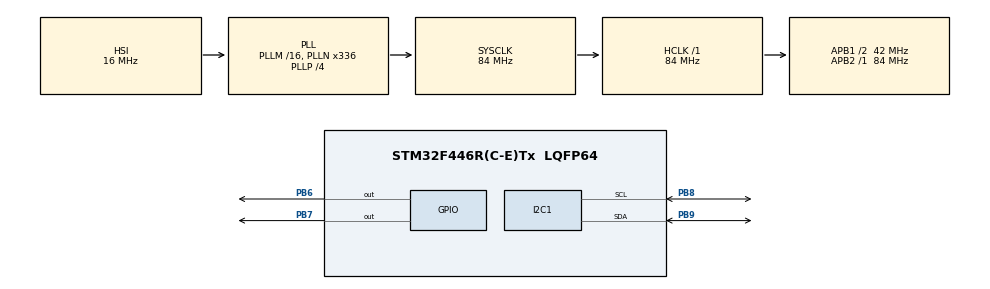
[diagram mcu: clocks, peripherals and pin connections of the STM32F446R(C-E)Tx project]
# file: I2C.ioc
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Mcu.Family=STM32F4
Mcu.Name=STM32F446R(C-E)Tx
Mcu.Package=LQFP64
NVIC.PriorityGroup=NVIC_PRIORITYGROUP_0
PB6.GPIO_ModeDefaultOutputPP=GPIO_MODE_OUTPUT_OD
PB6.GPIO_PuPd=GPIO_PULLUP
PB6.Signal=GPIO_Output
PB7.GPIO_ModeDefaultOutputPP=GPIO_MODE_OUTPUT_OD
PB7.GPIO_PuPd=GPIO_PULLUP
PB7.Signal=GPIO_Output
PB8.Mode=I2C
PB8.Signal=I2C1_SCL
PB9.Mode=I2C
PB9.Signal=I2C1_SDA
ProjectManager.HeapSize=0x200
ProjectManager.StackSize=0x400
ProjectManager.TargetToolchain=STM32CubeIDE
RCC.AHBFreq_Value=84000000
RCC.APB1CLKDivider=RCC_HCLK_DIV2
RCC.APB1Freq_Value=42000000
RCC.APB1TimFreq_Value=84000000
RCC.APB2Freq_Value=84000000
RCC.APB2TimFreq_Value=84000000
RCC.CortexFreq_Value=84000000
RCC.FLatency-AdvancedSettings=FLASH_LATENCY_2
RCC.HCLKFreq_Value=84000000
RCC.HSE_VALUE=8000000
RCC.HSI_VALUE=16000000
RCC.LSE_VALUE=32768
RCC.PLLN=336
RCC.PLLP=RCC_PLLP_DIV4
RCC.SYSCLKFreq_VALUE=84000000
RCC.SYSCLKSource=RCC_SYSCLKSOURCE_PLLCLK
RCC.USBFreq_Value=168000000
RCC.VCOOutputFreq_Value=336000000
board=NUCLEO-F446RE

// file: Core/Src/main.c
/* USER CODE BEGIN Header */
/**
  ******************************************************************************
  * @file           : main.c
  * @brief          : Main program body
  ******************************************************************************
  * @attention
  *
  * Copyright (c) 2026 STMicroelectronics.
  * All rights reserved.
  *
  * This software is licensed under terms that can be found in the LICENSE file
  * in the root directory of this software component.
  * If no LICENSE file comes with this software, it is provided AS-IS.
  *
  ******************************************************************************
  */
/* USER CODE END Header */
#include "main.h"

/* USER CODE BEGIN Includes */
#include "i2c_bitbang.h"
#include "bmp280.h"
#include "i2c_lcd.h"
#include "stdio.h"
/* USER CODE END Includes */

I2C_HandleTypeDef hi2c1;

/* USER CODE BEGIN PV */

BMP280_Status_t bmpStatus;
float temperature;
/* USER CODE END PV */

void SystemClock_Config(void);
static void MX_GPIO_Init(void);
static void MX_I2C1_Init(void);

/* USER CODE BEGIN 0 */
int row = 0;
int col = 0;
/* USER CODE END 0 */

int main(void)
{

  /* USER CODE BEGIN 1 */
	 char lcdBuffer[20];
  /* USER CODE END 1 */

  /* MCU Configuration--------------------------------------------------------*/

  /* Reset of all peripherals, Initializes the Flash interface and the Systick. */
  HAL_Init();

  /* Configure the system clock */
  SystemClock_Config();

  /* Initialize all configured peripherals */
  MX_GPIO_Init();
  MX_I2C1_Init();
  /* USER CODE BEGIN 2 */

  bmpStatus = BMP280_Init();

     if (bmpStatus != BMP280_OK)
     {
         Error_Handler();
     }

     lcd_init ();

  /* USER CODE END 2 */

  /* Infinite loop */
  while (1)
  {

    /* USER CODE BEGIN 3 */
	  temperature = BMP280_ReadTemperature();

	      lcd_clear();

	      /* First Row */
	      lcd_put_cur(0, 0);
	      lcd_send_string("I2C Bit-Banged");

	      /* Second Row */
	      sprintf(lcdBuffer, "Temp: %.2f C", temperature);
	      lcd_put_cur(1, 0);
	      lcd_send_string(lcdBuffer);

	      HAL_Delay(500);
  }
  /* USER CODE END 3 */
}

void SystemClock_Config(void)
{
  RCC_OscInitTypeDef RCC_OscInitStruct = {0};
  RCC_ClkInitTypeDef RCC_ClkInitStruct = {0};

  /** Configure the main internal regulator output voltage
  */
  __HAL_RCC_PWR_CLK_ENABLE();
  __HAL_PWR_VOLTAGESCALING_CONFIG(PWR_REGULATOR_VOLTAGE_SCALE3);

  /** Initializes the RCC Oscillators according to the specified parameters
  * in the RCC_OscInitTypeDef structure.
  */
  RCC_OscInitStruct.OscillatorType = RCC_OSCILLATORTYPE_HSI;
  RCC_OscInitStruct.HSIState = RCC_HSI_ON;
  RCC_OscInitStruct.HSICalibrationValue = RCC_HSICALIBRATION_DEFAULT;
  RCC_OscInitStruct.PLL.PLLState = RCC_PLL_ON;
  RCC_OscInitStruct.PLL.PLLSource = RCC_PLLSOURCE_HSI;
  RCC_OscInitStruct.PLL.PLLM = 16;
  RCC_OscInitStruct.PLL.PLLN = 336;
  RCC_OscInitStruct.PLL.PLLP = RCC_PLLP_DIV4;
  RCC_OscInitStruct.PLL.PLLQ = 2;
  RCC_OscInitStruct.PLL.PLLR = 2;
  if (HAL_RCC_OscConfig(&RCC_OscInitStruct) != HAL_OK)
  {
    Error_Handler();
  }

  /** Initializes the CPU, AHB and APB buses clocks
  */
  RCC_ClkInitStruct.ClockType = RCC_CLOCKTYPE_HCLK|RCC_CLOCKTYPE_SYSCLK
                              |RCC_CLOCKTYPE_PCLK1|RCC_CLOCKTYPE_PCLK2;
  RCC_ClkInitStruct.SYSCLKSource = RCC_SYSCLKSOURCE_PLLCLK;
  RCC_ClkInitStruct.AHBCLKDivider = RCC_SYSCLK_DIV1;
  RCC_ClkInitStruct.APB1CLKDivider = RCC_HCLK_DIV2;
  RCC_ClkInitStruct.APB2CLKDivider = RCC_HCLK_DIV1;

  if (HAL_RCC_ClockConfig(&RCC_ClkInitStruct, FLASH_LATENCY_2) != HAL_OK)
  {
    Error_Handler();
  }
}

static void MX_I2C1_Init(void)
{

  hi2c1.Instance = I2C1;
  hi2c1.Init.ClockSpeed = 100000;
  hi2c1.Init.DutyCycle = I2C_DUTYCYCLE_2;
  hi2c1.Init.OwnAddress1 = 0;
  hi2c1.Init.AddressingMode = I2C_ADDRESSINGMODE_7BIT;
  hi2c1.Init.DualAddressMode = I2C_DUALADDRESS_DISABLE;
  hi2c1.Init.OwnAddress2 = 0;
  hi2c1.Init.GeneralCallMode = I2C_GENERALCALL_DISABLE;
  hi2c1.Init.NoStretchMode = I2C_NOSTRETCH_DISABLE;
  if (HAL_I2C_Init(&hi2c1) != HAL_OK)
  {
    Error_Handler();
  }

}

static void MX_GPIO_Init(void)
{
  GPIO_InitTypeDef GPIO_InitStruct = {0};

  /* GPIO Ports Clock Enable */
  __HAL_RCC_GPIOB_CLK_ENABLE();

  /*Configure GPIO pin Output Level */
  HAL_GPIO_WritePin(GPIOB, GPIO_PIN_6|GPIO_PIN_7, GPIO_PIN_RESET);

  /*Configure GPIO pins : PB6 PB7 */
  GPIO_InitStruct.Pin = GPIO_PIN_6|GPIO_PIN_7;
  GPIO_InitStruct.Mode = GPIO_MODE_OUTPUT_OD;
  GPIO_InitStruct.Pull = GPIO_PULLUP;
  GPIO_InitStruct.Speed = GPIO_SPEED_FREQ_LOW;
  HAL_GPIO_Init(GPIOB, &GPIO_InitStruct);

}

void Error_Handler(void)
{
  while (1)
  __disable_irq();
  {
  }
}
